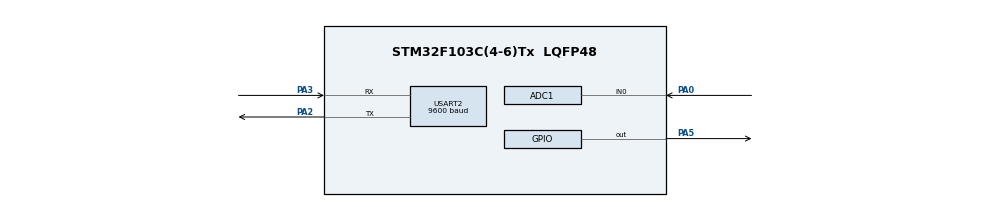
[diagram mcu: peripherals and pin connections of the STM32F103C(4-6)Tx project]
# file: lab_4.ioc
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ADC1.Channel-0\#ChannelRegularConversion=ADC_CHANNEL_0
ADC1.ContinuousConvMode=ENABLE
ADC1.NbrOfConversionFlag=1
ADC1.Rank-0\#ChannelRegularConversion=1
ADC1.SamplingTime-0\#ChannelRegularConversion=ADC_SAMPLETIME_1CYCLE_5
ADC1.master=1
Mcu.Family=STM32F1
Mcu.Name=STM32F103C(4-6)Tx
Mcu.Package=LQFP48
NVIC.PriorityGroup=NVIC_PRIORITYGROUP_4
NVIC.TIM2_IRQn=true\:0\:0\:false\:false\:true\:true\:true
NVIC.USART2_IRQn=true\:0\:0\:false\:false\:true\:true\:true
PA0-WKUP.Signal=ADCx_IN0
PA2.Mode=Asynchronous
PA2.Signal=USART2_TX
PA3.Mode=Asynchronous
PA3.Signal=USART2_RX
PA5.Signal=GPIO_Output
ProjectManager.HeapSize=0x200
ProjectManager.StackSize=0x400
ProjectManager.TargetToolchain=STM32CubeIDE
RCC.APB1Freq_Value=8000000
RCC.APB2Freq_Value=8000000
SH.ADCx_IN0.0=ADC1_IN0,IN0
TIM2.Period=9
TIM2.Prescaler=7999
USART2.BaudRate=9600
USART2.VirtualMode=VM_ASYNC
VP_SYS_VS_ND.Mode=No_Debug
VP_TIM2_VS_ClockSourceINT.Mode=Internal
board=custom

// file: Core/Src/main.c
/* USER CODE BEGIN Header */
/**
  ******************************************************************************
  * @file           : main.c
  * @brief          : Main program body
  ******************************************************************************
  * @attention
  *
  * <h2><center>&copy; Copyright (c) 2023 STMicroelectronics.
  * All rights reserved.</center></h2>
  *
  * This software component is licensed by ST under BSD 3-Clause license,
  * the "License"; You may not use this file except in compliance with the
  * License. You may obtain a copy of the License at:
  *                        opensource.org/licenses/BSD-3-Clause
  *
  ******************************************************************************
  */
/* USER CODE END Header */
#include "main.h"

/* USER CODE BEGIN Includes */
#include "global.h"
/* USER CODE END Includes */

ADC_HandleTypeDef hadc1;

TIM_HandleTypeDef htim2;

UART_HandleTypeDef huart2;

void SystemClock_Config(void);
static void MX_TIM2_Init(void);
static void MX_GPIO_Init(void);
static void MX_ADC1_Init(void);
static void MX_USART2_UART_Init(void);

/* USER CODE BEGIN 0 */
void HAL_TIM_PeriodElapsedCallback(TIM_HandleTypeDef *htim ) {
  if(htim->Instance == TIM2) {
    SCH_Update();
  }
}
void HAL_UART_RxCpltCallback(UART_HandleTypeDef *huart) {
  if(huart->Instance == USART2) {
    process_flag = 1;
    HAL_UART_Transmit(&huart2, &temp, 1, HAL_MAX_DELAY);
    HAL_UART_Receive_IT(&huart2, &temp, 1);
  }
}
void command_parser_wrapper(void) {
  if(process_flag == 1) {
    command_parser_fsm();
    process_flag = 0;
  }
}
/* USER CODE END 0 */

int main(void)
{

  /* MCU Configuration--------------------------------------------------------*/

  /* Reset of all peripherals, Initializes the Flash interface and the Systick. */
  HAL_Init();

  /* Configure the system clock */
  SystemClock_Config();

  /* Initialize all configured peripherals */
  MX_TIM2_Init();
  MX_GPIO_Init();
  MX_ADC1_Init();
  MX_USART2_UART_Init();
  /* USER CODE BEGIN 2 */
  HAL_ADC_Start(&hadc1);
  HAL_UART_Receive_IT(&huart2, &temp, 1);
  HAL_TIM_Base_Start_IT(&htim2);
  /* USER CODE END 2 */

  /* Infinite loop */
  /* USER CODE BEGIN WHILE */
  SCH_Add_Task(uart_communiation_fsm, 0, 1);
  SCH_Add_Task(command_parser_wrapper, 0, 1);
  SCH_Add_Task(timerRun, 0, 1);
  while (1)
  {
    /* USER CODE END WHILE */

    /* USER CODE BEGIN 3 */
      SCH_Dispatch_Tasks();
  }
  /* USER CODE END 3 */
}

void SystemClock_Config(void)
{
  RCC_OscInitTypeDef RCC_OscInitStruct = {0};
  RCC_ClkInitTypeDef RCC_ClkInitStruct = {0};
  RCC_PeriphCLKInitTypeDef PeriphClkInit = {0};

  /** Initializes the RCC Oscillators according to the specified parameters
  * in the RCC_OscInitTypeDef structure.
  */
  RCC_OscInitStruct.OscillatorType = RCC_OSCILLATORTYPE_HSI;
  RCC_OscInitStruct.HSIState = RCC_HSI_ON;
  RCC_OscInitStruct.HSICalibrationValue = RCC_HSICALIBRATION_DEFAULT;
  RCC_OscInitStruct.PLL.PLLState = RCC_PLL_NONE;
  if (HAL_RCC_OscConfig(&RCC_OscInitStruct) != HAL_OK)
  {
    Error_Handler();
  }
  /** Initializes the CPU, AHB and APB buses clocks
  */
  RCC_ClkInitStruct.ClockType = RCC_CLOCKTYPE_HCLK|RCC_CLOCKTYPE_SYSCLK
                              |RCC_CLOCKTYPE_PCLK1|RCC_CLOCKTYPE_PCLK2;
  RCC_ClkInitStruct.SYSCLKSource = RCC_SYSCLKSOURCE_HSI;
  RCC_ClkInitStruct.AHBCLKDivider = RCC_SYSCLK_DIV1;
  RCC_ClkInitStruct.APB1CLKDivider = RCC_HCLK_DIV1;
  RCC_ClkInitStruct.APB2CLKDivider = RCC_HCLK_DIV1;

  if (HAL_RCC_ClockConfig(&RCC_ClkInitStruct, FLASH_LATENCY_0) != HAL_OK)
  {
    Error_Handler();
  }
  PeriphClkInit.PeriphClockSelection = RCC_PERIPHCLK_ADC;
  PeriphClkInit.AdcClockSelection = RCC_ADCPCLK2_DIV2;
  if (HAL_RCCEx_PeriphCLKConfig(&PeriphClkInit) != HAL_OK)
  {
    Error_Handler();
  }
}

static void MX_ADC1_Init(void)
{

  ADC_ChannelConfTypeDef sConfig = {0};

  /** Common config
  */
  hadc1.Instance = ADC1;
  hadc1.Init.ScanConvMode = ADC_SCAN_DISABLE;
  hadc1.Init.ContinuousConvMode = ENABLE;
  hadc1.Init.DiscontinuousConvMode = DISABLE;
  hadc1.Init.ExternalTrigConv = ADC_SOFTWARE_START;
  hadc1.Init.DataAlign = ADC_DATAALIGN_RIGHT;
  hadc1.Init.NbrOfConversion = 1;
  if (HAL_ADC_Init(&hadc1) != HAL_OK)
  {
    Error_Handler();
  }
  /** Configure Regular Channel
  */
  sConfig.Channel = ADC_CHANNEL_0;
  sConfig.Rank = ADC_REGULAR_RANK_1;
  sConfig.SamplingTime = ADC_SAMPLETIME_1CYCLE_5;
  if (HAL_ADC_ConfigChannel(&hadc1, &sConfig) != HAL_OK)
  {
    Error_Handler();
  }

}

static void MX_TIM2_Init(void)
{

  TIM_ClockConfigTypeDef sClockSourceConfig = {0};
  TIM_MasterConfigTypeDef sMasterConfig = {0};

  htim2.Instance = TIM2;
  htim2.Init.Prescaler = 7999;
  htim2.Init.CounterMode = TIM_COUNTERMODE_UP;
  htim2.Init.Period = 9;
  htim2.Init.ClockDivision = TIM_CLOCKDIVISION_DIV1;
  htim2.Init.AutoReloadPreload = TIM_AUTORELOAD_PRELOAD_DISABLE;
  if (HAL_TIM_Base_Init(&htim2) != HAL_OK)
  {
    Error_Handler();
  }
  sClockSourceConfig.ClockSource = TIM_CLOCKSOURCE_INTERNAL;
  if (HAL_TIM_ConfigClockSource(&htim2, &sClockSourceConfig) != HAL_OK)
  {
    Error_Handler();
  }
  sMasterConfig.MasterOutputTrigger = TIM_TRGO_RESET;
  sMasterConfig.MasterSlaveMode = TIM_MASTERSLAVEMODE_DISABLE;
  if (HAL_TIMEx_MasterConfigSynchronization(&htim2, &sMasterConfig) != HAL_OK)
  {
    Error_Handler();
  }

}

static void MX_USART2_UART_Init(void)
{

  huart2.Instance = USART2;
  huart2.Init.BaudRate = 9600;
  huart2.Init.WordLength = UART_WORDLENGTH_8B;
  huart2.Init.StopBits = UART_STOPBITS_1;
  huart2.Init.Parity = UART_PARITY_NONE;
  huart2.Init.Mode = UART_MODE_TX_RX;
  huart2.Init.HwFlowCtl = UART_HWCONTROL_NONE;
  huart2.Init.OverSampling = UART_OVERSAMPLING_16;
  if (HAL_UART_Init(&huart2) != HAL_OK)
  {
    Error_Handler();
  }

}

static void MX_GPIO_Init(void)
{
  GPIO_InitTypeDef GPIO_InitStruct = {0};

  /* GPIO Ports Clock Enable */
  __HAL_RCC_GPIOA_CLK_ENABLE();

  /*Configure GPIO pin Output Level */
  HAL_GPIO_WritePin(GPIOA, GPIO_PIN_5, GPIO_PIN_RESET);

  /*Configure GPIO pin : PA5 */
  GPIO_InitStruct.Pin = GPIO_PIN_5;
  GPIO_InitStruct.Mode = GPIO_MODE_OUTPUT_PP;
  GPIO_InitStruct.Pull = GPIO_NOPULL;
  GPIO_InitStruct.Speed = GPIO_SPEED_FREQ_LOW;
  HAL_GPIO_Init(GPIOA, &GPIO_InitStruct);

}

void Error_Handler(void)
{
  __disable_irq();
  while (1)
  {
  }
}

/************************ (C) COPYRIGHT STMicroelectronics *****END OF FILE****/
